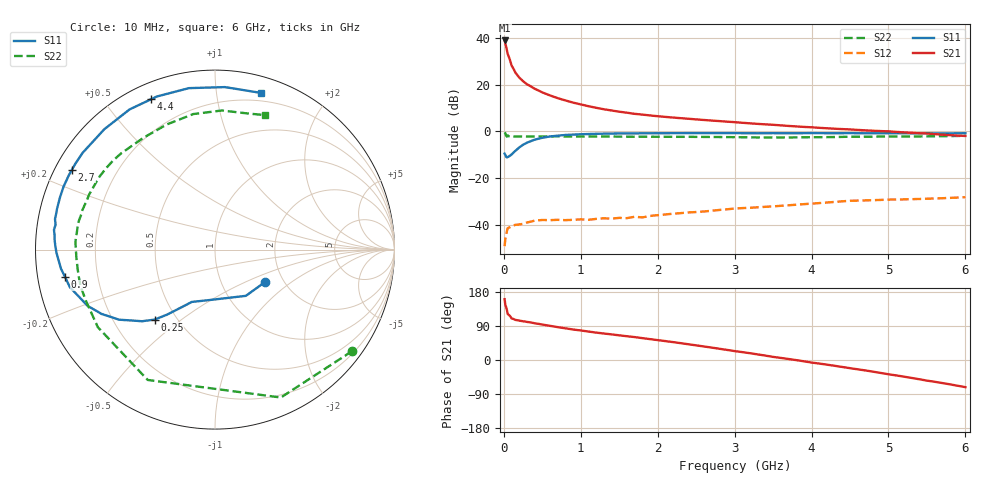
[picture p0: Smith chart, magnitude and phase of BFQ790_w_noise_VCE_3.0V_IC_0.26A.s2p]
! Infineon Technologies  Discrete & RF Semiconductors
! BFQ790
! VCE =  3.0 V,  IC = 0.26 A
! Common Emitter S-Parameters:  May 2015
# GHz  S  MA  R  50
!  f  S11  S21  S12  S22
! GHz  MAG  ANG  MAG  ANG  MAG  ANG  MAG  ANG
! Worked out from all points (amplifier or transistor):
!   77 points, 10 MHz to 6 GHz, reference 50 ohm
!   highest |S21| = 38.8 dB at 10 MHz (marker M1)
!   |S21| within 3 dB of that: start of sweep to 32.08 MHz
!   unconditionally stable (mu >= 1): 208.5 MHz to end of sweep
!   at 130 MHz: K = 0.75, MSG = 33.3 dB, |S12| = -40.3 dB
!   at 2.2 GHz: K = 1.31, MAG = 17.2 dB, |S12| = -35.2 dB
!   at 6 GHz: K = 1.09, MAG = 11.2 dB, |S12| = -28.2 dB
!   lowest NFmin = 3.78 dB at 1.5 GHz
!   S11 on the Smith chart (normalised r, x): 10 MHz: 1.62, -0.65; 250 MHz: 0.38, -0.40; 900 MHz: 0.08, -0.09; 2.7 GHz: 0.05, +0.26; 4.4 GHz: 0.07, +0.66; 6 GHz: 0.13, +1.32
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0.01  0.3329 -32.7  87.41 160.4  0.0035 73.4  0.9507 -36.5
0.02  0.3097 -56.3  75.11 144.8  0.0051 53.1  0.9021 -66.0
0.05  0.2811 -94.7  45.12 121.2  0.0085 30.0  0.8174 -117.3
0.1  0.319 -113.9  25.5 109.8  0.0093 19.8  0.7829 -146.5
0.15  0.3825 -121.2  17.94 105.9  0.01 19.8  0.7738 -158.5
0.2  0.4501 -126.4  14.09 103.9  0.0102 22.5  0.7765 -164.9
0.25  0.5152 -130.8  11.77 102.2  0.0105 20.2  0.7737 -169.1
0.3  0.5695 -135.5  10.14 100.6  0.0112 12.9  0.7727 -172.3
0.4  0.6614 -143.8  8.121 97.0  0.0123 15.4  0.7736 -176.8
0.5  0.7262 -150.4  6.78 93.5  0.0127 12.4  0.7752 179.8
0.6  0.7761 -156.2  5.845 90.1  0.0126 15.2  0.7786 177.1
0.7  0.8047 -161.3  5.107 86.7  0.0128 15.4  0.7777 174.7
0.9  0.8492 -169.6  4.102 80.5  0.0128 10.6  0.7758 171.1
1.1  0.8738 -176.2  3.436 75.1  0.0128 12.0  0.7745 167.6
1.5  0.8977 174.8  2.623 65.1  0.0141 14.6  0.7685 161.9
2.1  0.9096 163.5  2.031 49.9  0.0167 15.6  0.7618 153.0
2.7  0.9129 150.8  1.696 32.8  0.02 11.1  0.7553 141.2
3.1  0.9103 141.6  1.52 20.8  0.0228 6.8  0.7447 132.1
4.1  0.9117 119.3  1.186 -9.4  0.0292 -7.8  0.7481 108.5
4.4  0.9103 112.9  1.114 -18.4  0.0318 -13.8  0.7587 101.4
5.1  0.9069 96.7  0.971 -40.7  0.0348 -27.9  0.7747 85.2
6  0.9095 73.8  0.794 -71.7  0.039 -49.5  0.799 69.7
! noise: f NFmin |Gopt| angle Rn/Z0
0.45  6.29  0.51  143  0.62
0.9  4.4  0.63  169  0.19
1.5  3.78  0.73  -172  0.1
1.8  3.82  0.74  -166  0.12
2.6  4.01  0.76  -151  0.32
3.5  4.47  0.84  -134  0.73
